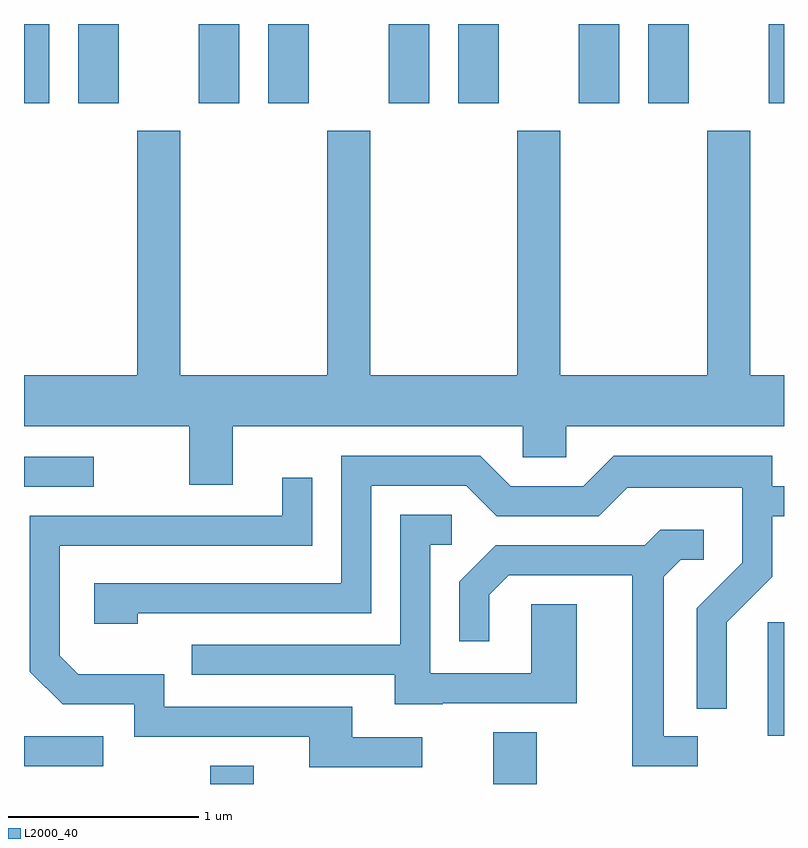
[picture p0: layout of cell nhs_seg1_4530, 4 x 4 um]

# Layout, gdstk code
import gdstk
lib = gdstk.Library(unit=1e-6, precision=1e-09)
def R(c, l, rs):  # rectangles x0, y0, x1, y1
    for r in rs: c.add(gdstk.rectangle(r[:2], r[2:], *l))
def P(c, l, *ps):  # polygons
    for p in ps: c.add(gdstk.Polygon(p, *l))
L2000_40 = (2000, 40)

nhs_seg1_4530 = lib.new_cell('nhs_seg1_4530')
R(nhs_seg1_4530, L2000_40, [(322.591,877.712,322.819,877.809), (324.081,877.712,324.309,877.984), (321.611,877.806,322.028,877.964), (325.526,877.966,325.611,878.564), (321.611,879.276,321.978,879.434), (321.611,881.296,321.744,881.712), (321.896,881.296,322.109,881.712), (322.531,881.296,322.744,881.712), (322.896,881.296,323.109,881.712), (323.531,881.296,323.744,881.712), (323.896,881.296,324.109,881.712), (324.531,881.296,324.744,881.712), (324.896,881.296,325.109,881.712), (325.531,881.296,325.611,881.712)])
P(nhs_seg1_4530, L2000_40, [(322.709,879.596),(324.236,879.596),(324.236,879.431),(324.464,879.431),(324.464,879.596),(325.611,879.596),(325.611,879.864),(325.434,879.864),(325.434,881.149),(325.206,881.149),(325.206,879.864),(324.434,879.864),(324.434,881.149),(324.206,881.149),(324.206,879.864),(323.434,879.864),(323.434,881.149),(323.206,881.149),(323.206,879.864),(322.434,879.864),(322.434,881.149),(322.206,881.149),(322.206,879.864),(321.611,879.864),(321.611,879.596),(322.481,879.596),(322.481,879.286),(322.709,879.286)],
  [(325.309,878.564),(325.549,878.804),(325.549,879.121),(325.611,879.121),(325.611,879.279),(325.549,879.279),(325.549,879.439),(324.714,879.439),(324.554,879.279),(324.172,879.279),(324.012,879.439),(323.281,879.439),(323.281,878.769),(321.981,878.769),(321.981,878.556),(322.209,878.556),(322.209,878.611),(323.439,878.611),(323.439,879.281),(323.939,879.281),(324.099,879.121),(324.637,879.121),(324.787,879.271),(325.391,879.271),(325.391,878.877),(325.151,878.637),(325.151,878.108),(325.309,878.108)],
  [(323.708,877.959),(323.339,877.959),(323.339,878.119),(322.349,878.119),(322.349,878.289),(321.897,878.289),(321.799,878.387),(321.799,878.966),(323.129,878.966),(323.129,879.323),(322.971,879.323),(322.971,879.124),(321.641,879.124),(321.641,878.304),(321.814,878.131),(322.191,878.131),(322.191,877.961),(323.111,877.961),(323.111,877.801),(323.708,877.801)],
  [(323.815,878.136),(324.519,878.136),(324.519,878.659),(324.281,878.659),(324.281,878.294),(323.749,878.294),(323.749,878.971),(323.863,878.971),(323.863,879.129),(323.591,879.129),(323.591,878.444),(322.493,878.444),(322.493,878.286),(323.561,878.286),(323.561,878.131),(323.815,878.131)],
  [(325.158,877.964),(324.979,877.964),(324.979,878.804),(325.067,878.891),(325.188,878.891),(325.188,879.049),(324.959,879.049),(324.879,878.969),(324.094,878.969),(323.901,878.777),(323.901,878.463),(324.059,878.463),(324.059,878.709),(324.162,878.811),(324.811,878.811),(324.811,877.806),(325.158,877.806)])

lib.write_gds('nhs_seg1_4530.gds')
